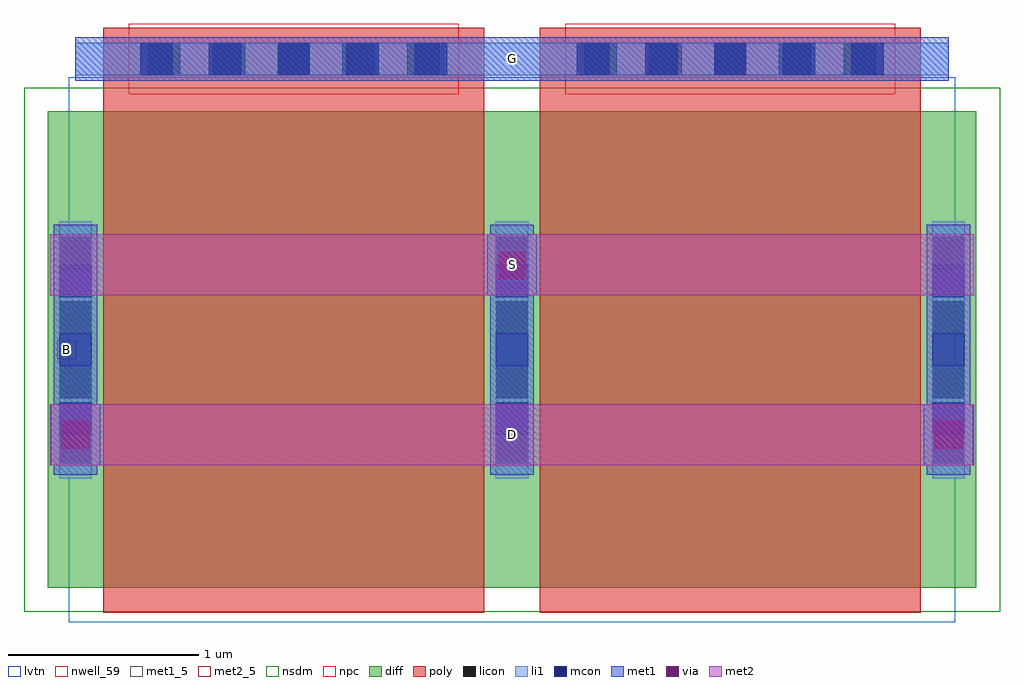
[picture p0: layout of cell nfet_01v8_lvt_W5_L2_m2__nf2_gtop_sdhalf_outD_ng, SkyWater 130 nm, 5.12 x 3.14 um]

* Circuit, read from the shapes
.subckt nfet_01v8_lvt_W5_L2_m2__nf2_gtop_sdhalf_outD_ng B D G S
XM1 S G D B sky130_fd_pr__nfet_01v8_lvt w=2.5 l=2 m=2
.ends

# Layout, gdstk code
import gdstk
lib = gdstk.Library(unit=1e-6, precision=1e-09)
def R(c, l, rs):  # rectangles x0, y0, x1, y1
    for r in rs: c.add(gdstk.rectangle(r[:2], r[2:], *l))
def A(c, l, x, y, w, h, nx, ny, dx, dy):  # array of equal rectangles
    R(c, l, [(x+i*dx, y+j*dy, x+i*dx+w, y+j*dy+h) for i in range(nx) for j in range(ny)])
nwell_59 = (64, 59)
diff = (65, 20)
poly = (66, 20)
licon = (66, 44)
li1 = (67, 20)
mcon = (67, 44)
met1_5 = (68, 5)
met1 = (68, 20)
via = (68, 44)
met2_5 = (69, 5)
met2 = (69, 20)
nsdm = (93, 44)
npc = (95, 20)
lvtn = (125, 44)

sky130_fd_pr__nfet_01v8_ = lib.new_cell('sky130_fd_pr__nfet_01v8_lvt_8PXDU7')
R(sky130_fd_pr__nfet_01v8_, diff, [(-2.435,-1.405,2.435,1.095)])
R(sky130_fd_pr__nfet_01v8_, poly, [(-2.145,-1.535,-0.145,1.535), (0.145,-1.535,2.145,1.535)])
A(sky130_fd_pr__nfet_01v8_, licon, -2.375, -0.75, 0.17, 0.17, 3, 4, 2.29, 0.34)
A(sky130_fd_pr__nfet_01v8_, licon, -1.91, 1.285, 0.17, 0.17, 5, 1, 0.34, 0)
A(sky130_fd_pr__nfet_01v8_, licon, 0.38, 1.285, 0.17, 0.17, 5, 1, 0.34, 0)
A(sky130_fd_pr__nfet_01v8_, li1, -2.375, -0.83, 0.17, 1.35, 3, 1, 2.29, 0)
R(sky130_fd_pr__nfet_01v8_, li1, [(-2.29,1.285,2.29,1.455)])
A(sky130_fd_pr__nfet_01v8_, mcon, -2.375, -0.6, 0.17, 0.17, 3, 3, 2.29, 0.36)
A(sky130_fd_pr__nfet_01v8_, mcon, -1.95, 1.285, 0.17, 0.17, 5, 1, 0.36, 0)
A(sky130_fd_pr__nfet_01v8_, mcon, 0.34, 1.285, 0.17, 0.17, 5, 1, 0.36, 0)
A(sky130_fd_pr__nfet_01v8_, met1, -2.405, -0.81, 0.23, 1.31, 3, 1, 2.29, 0)
R(sky130_fd_pr__nfet_01v8_, met1, [(-2.125,1.255,-0.165,1.285), (0.165,1.255,2.125,1.285), (-2.29,1.285,2.29,1.455), (-2.125,1.455,-0.165,1.485), (0.165,1.455,2.125,1.485)])
R(sky130_fd_pr__nfet_01v8_, nsdm, [(-2.56,-1.53,2.56,1.22)])
R(sky130_fd_pr__nfet_01v8_, npc, [(-2.01,1.185,-0.28,1.555), (0.28,1.185,2.01,1.555)])
R(sky130_fd_pr__nfet_01v8_, lvtn, [(-2.325,-1.585,2.325,1.275)])
sky130_fd_pr__nfet_01v8_.add(gdstk.Label('D0', (-2.29,-0.155), layer=67, texttype=5))
sky130_fd_pr__nfet_01v8_.add(gdstk.Label('G', (1.145,1.37), layer=67, texttype=5))
sky130_fd_pr__nfet_01v8_.add(gdstk.Label('G', (-1.145,1.37), layer=67, texttype=5))
sky130_fd_pr__nfet_01v8_.add(gdstk.Label('S1', (0,-0.155), layer=67, texttype=5))

nfet_01v8_lvt_w5_l2_m2__ = lib.new_cell('nfet_01v8_lvt_W5_L2_m2__nf2_gtop_sdhalf_outD_ng')
R(nfet_01v8_lvt_w5_l2_m2__, nwell_59, [(0.05,1.33,0.15,1.43)])
R(nfet_01v8_lvt_w5_l2_m2__, met1_5, [(0.145,2.79,4.725,3.02)])
R(nfet_01v8_lvt_w5_l2_m2__, met1, [(0.015,0.775,0.275,1.095), (4.595,0.775,4.855,1.095), (2.305,1.665,2.565,1.985), (0.145,2.79,4.725,3.02)])
R(nfet_01v8_lvt_w5_l2_m2__, via, [(0.07,0.86,0.22,1.01), (4.65,0.86,4.8,1.01), (2.36,1.75,2.51,1.9)])
R(nfet_01v8_lvt_w5_l2_m2__, met2_5, [(0.01,0.775,4.86,1.095), (0.01,1.665,4.86,1.985)])
R(nfet_01v8_lvt_w5_l2_m2__, met2, [(0.01,0.775,4.86,1.095), (0.01,1.665,4.86,1.985)])
nfet_01v8_lvt_w5_l2_m2__.add(gdstk.Reference(sky130_fd_pr__nfet_01v8_, (2.435,1.535)))
nfet_01v8_lvt_w5_l2_m2__.add(gdstk.Label('S', (2.435,1.825), layer=69, texttype=5))
nfet_01v8_lvt_w5_l2_m2__.add(gdstk.Label('D', (2.435,0.935), layer=69, texttype=5))
nfet_01v8_lvt_w5_l2_m2__.add(gdstk.Label('G', (2.435,2.905), layer=68, texttype=5))
nfet_01v8_lvt_w5_l2_m2__.add(gdstk.Label('B', (0.1,1.38), layer=64, texttype=59))

lib.write_gds('nfet_01v8_lvt_W5_L2_m2__nf2_gtop_sdhalf_outD_ng.gds')
